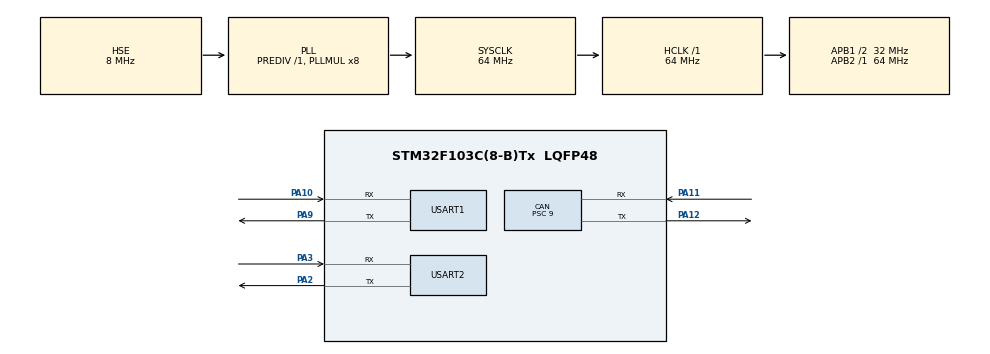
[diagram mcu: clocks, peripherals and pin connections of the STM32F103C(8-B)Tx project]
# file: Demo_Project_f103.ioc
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CAN.BS1=CAN_BS1_12TQ
CAN.BS2=CAN_BS2_3TQ
CAN.CalculateBaudRate=222222
CAN.CalculateTimeBit=4500
CAN.CalculateTimeQuantum=281.25
CAN.NART=ENABLE
CAN.Prescaler=9
Mcu.Family=STM32F1
Mcu.Name=STM32F103C(8-B)Tx
Mcu.Package=LQFP48
NVIC.PriorityGroup=NVIC_PRIORITYGROUP_4
NVIC.USART1_IRQn=true\:0\:0\:false\:false\:true\:true\:true\:true
NVIC.USB_LP_CAN1_RX0_IRQn=true\:0\:0\:false\:false\:true\:true\:true\:true
PA10.Mode=Asynchronous
PA10.Signal=USART1_RX
PA11.Mode=CAN_Activate
PA11.Signal=CAN_RX
PA12.Mode=CAN_Activate
PA12.Signal=CAN_TX
PA13.Mode=Serial_Wire
PA13.Signal=SYS_JTMS-SWDIO
PA14.Mode=Serial_Wire
PA14.Signal=SYS_JTCK-SWCLK
PA2.Mode=Asynchronous
PA2.Signal=USART2_TX
PA3.Mode=Asynchronous
PA3.Signal=USART2_RX
PA9.Mode=Asynchronous
PA9.Signal=USART1_TX
PD0-OSC_IN.Mode=HSE-External-Oscillator
PD0-OSC_IN.Signal=RCC_OSC_IN
PD1-OSC_OUT.Mode=HSE-External-Oscillator
PD1-OSC_OUT.Signal=RCC_OSC_OUT
ProjectManager.HeapSize=0x200
ProjectManager.StackSize=0x400
ProjectManager.TargetToolchain=STM32CubeIDE
RCC.AHBFreq_Value=64000000
RCC.APB1CLKDivider=RCC_HCLK_DIV2
RCC.APB1Freq_Value=32000000
RCC.APB1TimFreq_Value=64000000
RCC.APB2Freq_Value=64000000
RCC.APB2TimFreq_Value=64000000
RCC.HCLKFreq_Value=64000000
RCC.PLLMUL=RCC_PLL_MUL8
RCC.PLLSourceVirtual=RCC_PLLSOURCE_HSE
RCC.SYSCLKFreq_VALUE=64000000
RCC.SYSCLKSource=RCC_SYSCLKSOURCE_PLLCLK
RCC.USBFreq_Value=64000000
USART1.VirtualMode=VM_ASYNC
USART2.VirtualMode=VM_ASYNC
board=custom

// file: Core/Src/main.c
/* USER CODE BEGIN Header */
/**
  ******************************************************************************
  * @file           : main.c
  * @brief          : Main program body
  ******************************************************************************
  * @attention
  *
  * Copyright (c) 2026 STMicroelectronics.
  * All rights reserved.
  *
  * This software is licensed under terms that can be found in the LICENSE file
  * in the root directory of this software component.
  * If no LICENSE file comes with this software, it is provided AS-IS.
  *
  ******************************************************************************
  */
/* USER CODE END Header */
#include "RX_data_UART.h"
#include "RX_data_CAN.h"
#include "main.h"

/* USER CODE BEGIN Includes */
#include <stdio.h>
#include "TX_data_CAN.h"
/* USER CODE END Includes */

CAN_HandleTypeDef hcan;

UART_HandleTypeDef huart1;
UART_HandleTypeDef huart2;

void SystemClock_Config(void);
static void MX_GPIO_Init(void);
static void MX_CAN_Init(void);
static void MX_USART1_UART_Init(void);
static void MX_USART2_UART_Init(void);

int main(void)
{

  /* MCU Configuration--------------------------------------------------------*/

  /* Reset of all peripherals, Initializes the Flash interface and the Systick. */
  HAL_Init();

  /* Configure the system clock */
  SystemClock_Config();

  /* Initialize all configured peripherals */
  MX_GPIO_Init();
  MX_CAN_Init();
  MX_USART1_UART_Init();
  MX_USART2_UART_Init();
  /* USER CODE BEGIN 2 */

  F103_Bridge_Init(&huart1);          // Khởi tạo module UART F103
  CAN_Init_Filter_And_Start(&hcan);   // Khởi tạo và kích hoạt CAN

  /* USER CODE END 2 */

  /* Infinite loop */
  /* USER CODE BEGIN WHILE */
  static uint32_t last_heartbeat_tick = 0;
  static uint8_t hb_counter = 0;

  while (1)
  {
    /* USER CODE END WHILE */

    /* USER CODE BEGIN 3 */
	  // Bật đoạn code này lên để test trực tiếp:
//	  	  CAN_TxHeaderTypeDef TxHeader;
//	  	  uint32_t pTxMailbox;
//	  	  uint8_t testData[5] = {2, 0x10, 0x30, 1, 5}; // Mô phỏng gói tin lỗi chuẩn v3.0[cite: 1]
//
//	  	  TxHeader.StdId = 0x500; // CAN_ID_FAULT_FRONT_BCM[cite: 1]
//	  	  TxHeader.ExtId = 0x00;
//	  	  TxHeader.RTR = CAN_RTR_DATA;
//	  	  TxHeader.IDE = CAN_ID_STD;
//	  	  TxHeader.DLC = 5;       // DLC = 5[cite: 1]
//	  	  TxHeader.TransmitGlobalTime = DISABLE;
//
//	  	  HAL_CAN_AddTxMessage(&hcan, &TxHeader, testData, &pTxMailbox);
//	  	  HAL_Delay(500); // Phát lên bus mỗi 0.5 giây

	  	// Đoạn này đặt trong vòng lặp while(1) của main.c hoặc hàm nền:
	  	if (ack_status == ACK_STATUS_APPROVED) {
	  	    CAN_Send_Join_Request(&hcan);
	  	    last_req_tick = HAL_GetTick();
	  	    ack_status = ACK_STATUS_REJECTED; // Chuyển sang chờ phản hồi
	  	}
	  	else if (ack_status == ACK_STATUS_REJECTED) {
	  	    // Sau 500ms nếu ECU chưa phản hồi (do nghẽn mạng hoặc chưa bật), gửi lại yêu cầu (Retry)
	  	    if (HAL_GetTick() - last_req_tick > 200) {
	  	        CAN_Send_Join_Request(&hcan);
	  	        last_req_tick = HAL_GetTick();
	  	    }
	  	}
	  	else if (ack_status == ACK_STATUS_PENDING) {
	  	    // === ĐÃ ĐƯỢC CHẤP NHẬN ===
	  	    // Lúc này luồng nhận UART từ F411 và bắn CAN 0x400 / 0x500 của bạn mới chính thức hoạt động!
	  	}

	  	if (ack_status == ACK_STATUS_PENDING) {
	  		// === XỬ LÝ LỆNH TỪ CENTRAL ECU GỬI XUỐNG FRONT BCM ===
	  		if (new_cmd_rx_flag == 1) {
	  		    new_cmd_rx_flag = 0; // Xóa cờ để đón lệnh tiếp theo

	  		    // Đóng gói 5 byte UART: [Header] [Lệnh] [Data0] [Data1] [Checksum]
	  		    uint8_t txUart[5] = {0xAA, 0x00, 0x00, 0x00, 0x00};

	  		    // Ví dụ: Bắn lệnh gạt mưa (bạn có thể bổ sung thêm các lệnh đèn, xi-nhan tùy ý)
	  		    txUart[1] = 0x02; // Mã lệnh gạt mưa
	  		    txUart[2] = rx_cmd_wiper_mode;
	  		    txUart[3] = rx_cmd_wiper_washer;
	  		    txUart[4] = (uint8_t)(txUart[1] + txUart[2] + txUart[3]); // Checksum

	  		    HAL_UART_Transmit(&huart1, txUart, 5, 10);
	  		}

	  	    if (HAL_GetTick() - last_heartbeat_tick > 200) { // Gửi định kỳ mỗi 200ms
	  	        last_heartbeat_tick = HAL_GetTick();
	  	        hb_counter++;

	  	        CAN_Send_Heartbeat(&hcan, (uint8_t)ack_status, hb_counter);
	  	    }
	  	}
  }
  /* USER CODE END 3 */
}

void SystemClock_Config(void)
{
  RCC_OscInitTypeDef RCC_OscInitStruct = {0};
  RCC_ClkInitTypeDef RCC_ClkInitStruct = {0};

  /** Initializes the RCC Oscillators according to the specified parameters
  * in the RCC_OscInitTypeDef structure.
  */
  RCC_OscInitStruct.OscillatorType = RCC_OSCILLATORTYPE_HSE;
  RCC_OscInitStruct.HSEState = RCC_HSE_ON;
  RCC_OscInitStruct.HSEPredivValue = RCC_HSE_PREDIV_DIV1;
  RCC_OscInitStruct.HSIState = RCC_HSI_ON;
  RCC_OscInitStruct.PLL.PLLState = RCC_PLL_ON;
  RCC_OscInitStruct.PLL.PLLSource = RCC_PLLSOURCE_HSE;
  RCC_OscInitStruct.PLL.PLLMUL = RCC_PLL_MUL8;
  if (HAL_RCC_OscConfig(&RCC_OscInitStruct) != HAL_OK)
  {
    Error_Handler();
  }

  /** Initializes the CPU, AHB and APB buses clocks
  */
  RCC_ClkInitStruct.ClockType = RCC_CLOCKTYPE_HCLK|RCC_CLOCKTYPE_SYSCLK
                              |RCC_CLOCKTYPE_PCLK1|RCC_CLOCKTYPE_PCLK2;
  RCC_ClkInitStruct.SYSCLKSource = RCC_SYSCLKSOURCE_PLLCLK;
  RCC_ClkInitStruct.AHBCLKDivider = RCC_SYSCLK_DIV1;
  RCC_ClkInitStruct.APB1CLKDivider = RCC_HCLK_DIV2;
  RCC_ClkInitStruct.APB2CLKDivider = RCC_HCLK_DIV1;

  if (HAL_RCC_ClockConfig(&RCC_ClkInitStruct, FLASH_LATENCY_2) != HAL_OK)
  {
    Error_Handler();
  }
}

static void MX_CAN_Init(void)
{

  hcan.Instance = CAN1;
  hcan.Init.Prescaler = 9;
  hcan.Init.Mode = CAN_MODE_NORMAL;
  hcan.Init.SyncJumpWidth = CAN_SJW_1TQ;
  hcan.Init.TimeSeg1 = CAN_BS1_12TQ;
  hcan.Init.TimeSeg2 = CAN_BS2_3TQ;
  hcan.Init.TimeTriggeredMode = DISABLE;
  hcan.Init.AutoBusOff = DISABLE;
  hcan.Init.AutoWakeUp = DISABLE;
  hcan.Init.AutoRetransmission = ENABLE;
  hcan.Init.ReceiveFifoLocked = DISABLE;
  hcan.Init.TransmitFifoPriority = DISABLE;
  if (HAL_CAN_Init(&hcan) != HAL_OK)
  {
    Error_Handler();
  }

}

static void MX_USART1_UART_Init(void)
{

  huart1.Instance = USART1;
  huart1.Init.BaudRate = 115200;
  huart1.Init.WordLength = UART_WORDLENGTH_8B;
  huart1.Init.StopBits = UART_STOPBITS_1;
  huart1.Init.Parity = UART_PARITY_NONE;
  huart1.Init.Mode = UART_MODE_TX_RX;
  huart1.Init.HwFlowCtl = UART_HWCONTROL_NONE;
  huart1.Init.OverSampling = UART_OVERSAMPLING_16;
  if (HAL_UART_Init(&huart1) != HAL_OK)
  {
    Error_Handler();
  }

}

static void MX_USART2_UART_Init(void)
{

  huart2.Instance = USART2;
  huart2.Init.BaudRate = 115200;
  huart2.Init.WordLength = UART_WORDLENGTH_8B;
  huart2.Init.StopBits = UART_STOPBITS_1;
  huart2.Init.Parity = UART_PARITY_NONE;
  huart2.Init.Mode = UART_MODE_TX_RX;
  huart2.Init.HwFlowCtl = UART_HWCONTROL_NONE;
  huart2.Init.OverSampling = UART_OVERSAMPLING_16;
  if (HAL_UART_Init(&huart2) != HAL_OK)
  {
    Error_Handler();
  }

}

static void MX_GPIO_Init(void)
{

  /* GPIO Ports Clock Enable */
  __HAL_RCC_GPIOD_CLK_ENABLE();
  __HAL_RCC_GPIOA_CLK_ENABLE();

}

/* USER CODE BEGIN 4 */
int __io_putchar(int ch) {
    HAL_UART_Transmit(&huart2, (uint8_t *)&ch, 1, 10);
    return ch;
}

/* USER CODE END 4 */

void Error_Handler(void)
{
  __disable_irq();
  while (1)
  {
  }
}
